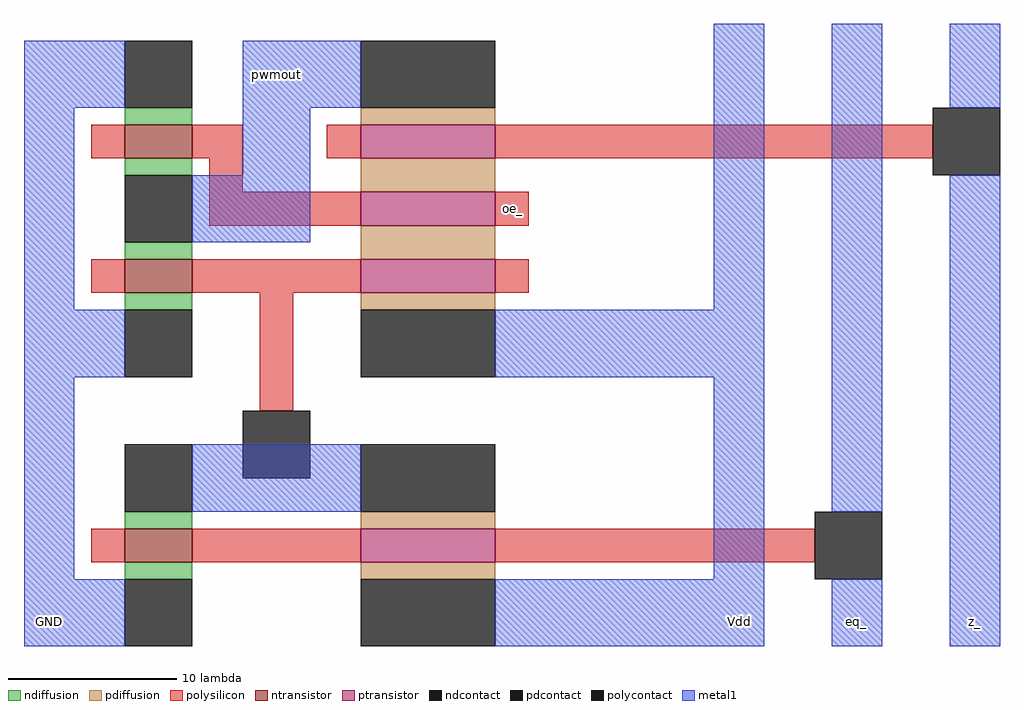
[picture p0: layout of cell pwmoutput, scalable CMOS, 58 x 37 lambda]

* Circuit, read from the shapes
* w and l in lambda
.subckt pwmoutput GND Vdd eq_ oe_ pwmout z_
M1 inverter_0/out eq_ GND VSUBS nfet w=4 l=2
M2 pwmout inverter_0/out GND VSUBS nfet w=4 l=2
M3 GND oe_ pwmout VSUBS nfet w=4 l=2
M4 inverter_0/out eq_ Vdd NWELL pfet w=8 l=2
M5 n1 inverter_0/out Vdd NWELL pfet w=8 l=2
M6 n2 oe_ n1 NWELL pfet w=8 l=2
M7 pwmout z_ n2 NWELL pfet w=8 l=2
.ends

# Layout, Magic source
magic
tech scmos
<< polysilicon >>
rect 4 127 6 129
rect 10 127 13 129
rect 18 127 20 129
rect 28 127 54 129
rect 11 125 13 127
rect 11 123 20 125
rect 28 123 30 125
rect 4 119 6 121
rect 10 119 20 121
rect 28 119 30 121
rect 14 112 16 119
rect 30 103 47 105
<< ndiffusion >>
rect 6 129 10 130
rect 6 126 10 127
rect 6 121 10 122
rect 6 118 10 119
<< pdiffusion >>
rect 20 129 28 130
rect 20 125 28 127
rect 20 121 28 123
rect 20 118 28 119
<< metal1 >>
rect 0 130 6 134
rect 13 130 20 134
rect 0 118 3 130
rect 13 126 17 130
rect 10 122 17 126
rect 41 118 44 135
rect 0 114 6 118
rect 28 114 44 118
rect 0 102 3 114
rect 41 102 44 114
rect 48 106 51 135
rect 55 130 58 135
rect 0 98 6 102
rect 28 98 44 102
rect 48 98 51 102
rect 55 98 58 126
<< ntransistor >>
rect 6 127 10 129
rect 6 119 10 121
<< ptransistor >>
rect 20 127 28 129
rect 20 123 28 125
rect 20 119 28 121
<< polycontact >>
rect 54 126 58 130
rect 13 108 17 112
rect 47 102 51 106
<< ndcontact >>
rect 6 130 10 134
rect 6 122 10 126
rect 6 114 10 118
<< pdcontact >>
rect 20 130 28 134
rect 20 114 28 118
use inverter  inverter_0
transform 0 1 -1 1 0 103
box -5 5 7 31
<< labels >>
rlabel polysilicon 29 124 29 124 1 oe_
rlabel metal1 41 98 44 101 1 Vdd
rlabel metal1 48 98 51 101 1 eq_
rlabel metal1 55 98 58 101 8 z_
rlabel metal1 0 98 3 101 2 GND
rlabel metal1 13 130 17 134 5 pwmout
<< end >>

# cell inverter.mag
magic
tech scmos
<< polysilicon >>
rect 0 29 2 31
rect 0 11 2 21
rect 0 5 2 7
<< ndiffusion >>
rect -1 7 0 11
rect 2 7 3 11
<< pdiffusion >>
rect -1 21 0 29
rect 2 21 3 29
<< metal1 >>
rect 3 11 7 21
<< ntransistor >>
rect 0 7 2 11
<< ptransistor >>
rect 0 21 2 29
<< ndcontact >>
rect -5 7 -1 11
rect 3 7 7 11
<< pdcontact >>
rect -5 21 -1 29
rect 3 21 7 29
<< labels >>
rlabel metal1 5 16 5 16 7 out
<< end >>
